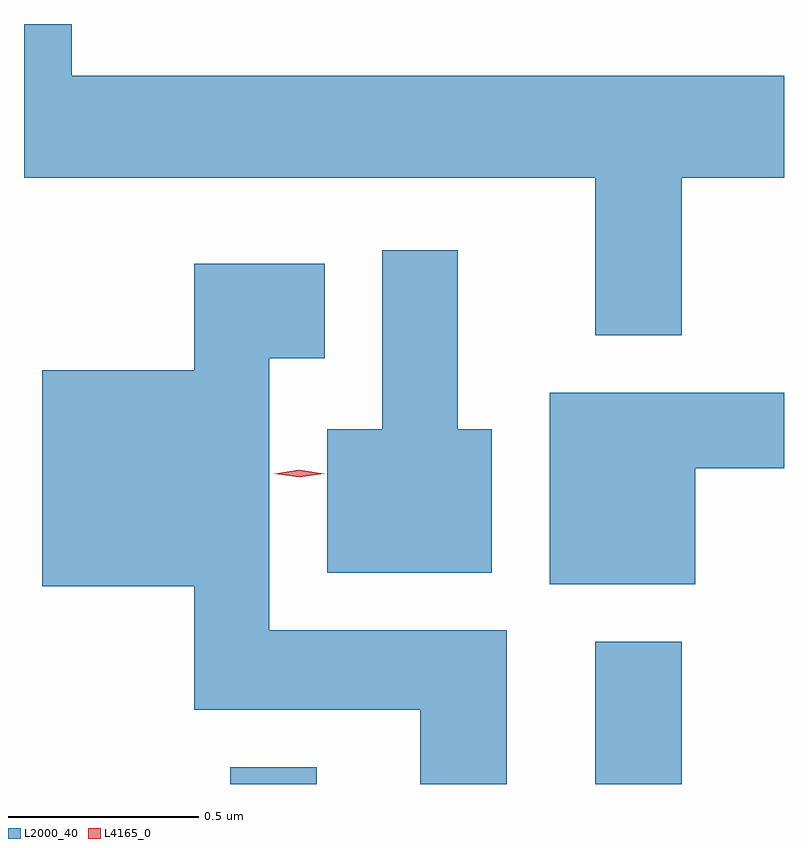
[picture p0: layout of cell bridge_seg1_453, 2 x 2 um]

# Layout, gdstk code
import gdstk
lib = gdstk.Library(unit=1e-6, precision=1e-09)
def R(c, l, rs):  # rectangles x0, y0, x1, y1
    for r in rs: c.add(gdstk.rectangle(r[:2], r[2:], *l))
def P(c, l, *ps):  # polygons
    for p in ps: c.add(gdstk.Polygon(p, *l))
L2000_40 = (2000, 40)
L4165_0 = (4165, 0)

bridge_seg1_453 = lib.new_cell('bridge_seg1_453')
R(bridge_seg1_453, L2000_40, [(375.601,875.78,375.829,875.824), (376.561,875.78,376.789,876.154)])
P(bridge_seg1_453, L2000_40, [(376.789,877.376),(377.058,877.376),(377.058,877.644),(375.184,877.644),(375.184,877.78),(375.058,877.78),(375.058,877.376),(376.561,877.376),(376.561,876.961),(376.789,876.961)],
  [(376.289,876.714),(376.199,876.714),(376.199,877.184),(376.001,877.184),(376.001,876.714),(375.856,876.714),(375.856,876.336),(376.289,876.336)],
  [(376.329,876.184),(375.704,876.184),(375.704,876.901),(375.849,876.901),(375.849,877.149),(375.506,877.149),(375.506,876.869),(375.106,876.869),(375.106,876.301),(375.506,876.301),(375.506,875.976),(376.101,875.976),(376.101,875.78),(376.329,875.78)],
  [(376.824,876.611),(377.058,876.611),(377.058,876.809),(376.441,876.809),(376.441,876.306),(376.824,876.306)])
P(bridge_seg1_453, L4165_0, [(375.782,876.587),(375.716,876.596),(375.716,876.597),(375.716,876.597),(375.782,876.607),(375.848,876.597),(375.848,876.597),(375.848,876.596)])

lib.write_gds('bridge_seg1_453.gds')
